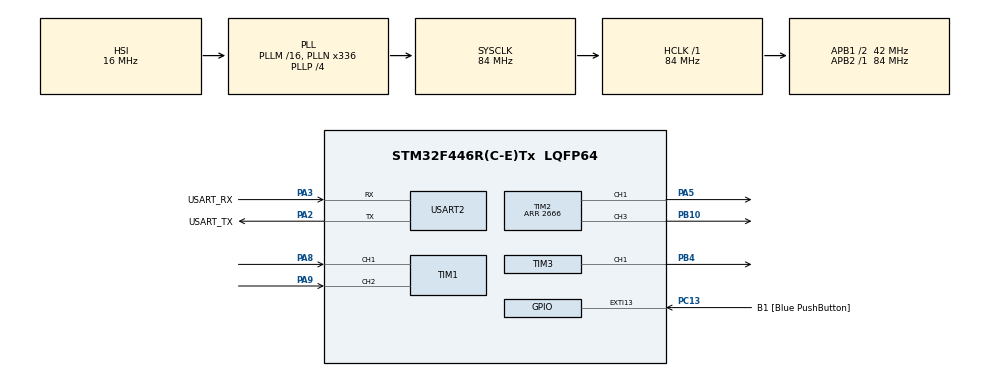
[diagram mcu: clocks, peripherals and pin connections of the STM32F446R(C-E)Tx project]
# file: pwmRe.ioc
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Mcu.Family=STM32F4
Mcu.Name=STM32F446R(C-E)Tx
Mcu.Package=LQFP64
NVIC.PriorityGroup=NVIC_PRIORITYGROUP_0
PA13.GPIO_Label=TMS
PA13.Mode=Serial_Wire
PA13.Signal=SYS_JTMS-SWDIO
PA14.GPIO_Label=TCK
PA14.Mode=Serial_Wire
PA14.Signal=SYS_JTCK-SWCLK
PA2.GPIO_Label=USART_TX
PA2.Mode=Asynchronous
PA2.Signal=USART2_TX
PA3.GPIO_Label=USART_RX
PA3.Mode=Asynchronous
PA3.Signal=USART2_RX
PA5.Signal=S_TIM2_CH1_ETR
PA8.Signal=S_TIM1_CH1
PA9.Signal=S_TIM1_CH2
PB10.Signal=S_TIM2_CH3
PB3.GPIO_Label=SWO
PB3.Signal=SYS_JTDO-SWO
PB4.Signal=S_TIM3_CH1
PC13.GPIO_Label=B1 [Blue PushButton]
PC13.GPIO_ModeDefaultEXTI=GPIO_MODE_IT_FALLING
PC13.Signal=GPXTI13
PC14-OSC32_IN.Mode=LSE-External-Oscillator
PC14-OSC32_IN.Signal=RCC_OSC32_IN
PC15-OSC32_OUT.Mode=LSE-External-Oscillator
PC15-OSC32_OUT.Signal=RCC_OSC32_OUT
PH0-OSC_IN.Mode=HSE-External-Oscillator
PH0-OSC_IN.Signal=RCC_OSC_IN
PH1-OSC_OUT.Mode=HSE-External-Oscillator
PH1-OSC_OUT.Signal=RCC_OSC_OUT
ProjectManager.HeapSize=0x200
ProjectManager.StackSize=0x400
ProjectManager.TargetToolchain=Makefile
RCC.48MHZClocksFreq_Value=84000000
RCC.AHBFreq_Value=84000000
RCC.APB1CLKDivider=RCC_HCLK_DIV2
RCC.APB1Freq_Value=42000000
RCC.APB1TimFreq_Value=84000000
RCC.APB2Freq_Value=84000000
RCC.APB2TimFreq_Value=84000000
RCC.CortexFreq_Value=84000000
RCC.FLatency-AdvancedSettings=FLASH_LATENCY_2
RCC.HCLKFreq_Value=84000000
RCC.HSE_VALUE=8000000
RCC.HSI_VALUE=16000000
RCC.PLLN=336
RCC.PLLP=RCC_PLLP_DIV4
RCC.SYSCLKFreq_VALUE=84000000
RCC.SYSCLKSource=RCC_SYSCLKSOURCE_PLLCLK
RCC.USBFreq_Value=168000000
RCC.VCOOutputFreq_Value=336000000
SH.S_TIM1_CH1.0=TIM1_CH1,Encoder_Interface
SH.S_TIM1_CH2.0=TIM1_CH2,Encoder_Interface
SH.S_TIM2_CH1_ETR.0=TIM2_CH1,PWM Generation1 CH1
SH.S_TIM2_CH3.0=TIM2_CH3,PWM Generation3 CH3
SH.S_TIM3_CH1.0=TIM3_CH1,PWM Generation1 CH1
TIM2.Channel-PWM\ Generation1\ CH1=TIM_CHANNEL_1
TIM2.Channel-PWM\ Generation3\ CH3=TIM_CHANNEL_3
TIM2.Period=2666
TIM3.Channel-PWM\ Generation1\ CH1=TIM_CHANNEL_1
TIM3.Period=2666
USART2.VirtualMode=VM_ASYNC
VP_TIM2_VS_ClockSourceINT.Mode=Internal
board=NUCLEO-F446RE

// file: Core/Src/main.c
/* USER CODE BEGIN Header */
/**
 ******************************************************************************
 * @file           : main.c
 * @brief          : Main program body
 ******************************************************************************
 * @attention
 *
 * <h2><center>&copy; Copyright (c) 2021 STMicroelectronics.
 * All rights reserved.</center></h2>
 *
 * This software component is licensed by ST under BSD 3-Clause license,
 * the "License"; You may not use this file except in compliance with the
 * License. You may obtain a copy of the License at:
 *                        opensource.org/licenses/BSD-3-Clause
 *
 ******************************************************************************
 */
/* USER CODE END Header */
#include "main.h"

TIM_HandleTypeDef htim1;
TIM_HandleTypeDef htim2;
TIM_HandleTypeDef htim3;

UART_HandleTypeDef huart2;

void SystemClock_Config(void);
static void MX_GPIO_Init(void);
static void MX_USART2_UART_Init(void);
static void MX_TIM2_Init(void);
static void MX_TIM3_Init(void);
static void MX_TIM1_Init(void);

/* USER CODE BEGIN 0 */
int16_t read_encoder_value(void)
{
  int16_t enc_buff = (int16_t)TIM1->CNT;
  TIM1->CNT = 0;
  return (int16_t)enc_buff;
}
/* USER CODE END 0 */

int main(void)
{

  /* MCU Configuration--------------------------------------------------------*/

  /* Reset of all peripherals, Initializes the Flash interface and the Systick. */
  HAL_Init();

  /* Configure the system clock */
  SystemClock_Config();

  /* Initialize all configured peripherals */
  MX_GPIO_Init();
  MX_USART2_UART_Init();
  MX_TIM2_Init();
  MX_TIM3_Init();
  MX_TIM1_Init();

  /* Infinite loop */
  /* USER CODE BEGIN WHILE */
  HAL_TIM_PWM_Start(&htim2, TIM_CHANNEL_1);
  HAL_TIM_PWM_Start(&htim2, TIM_CHANNEL_3);
  HAL_TIM_PWM_Start(&htim3, TIM_CHANNEL_1);
  __HAL_TIM_SET_COMPARE(&htim2, TIM_CHANNEL_3, 2666);
  HAL_TIM_Encoder_Start(&htim1, TIM_CHANNEL_ALL);
  int16_t encCntInt = 0;
  int16_t cnt = 0;
  while (1)
  {
    int duty;
    for (duty = 0; duty < 2666; duty++)
    {
      cnt++;
      __HAL_TIM_SET_COMPARE(&htim2, TIM_CHANNEL_1, duty);
      __HAL_TIM_SET_COMPARE(&htim3, TIM_CHANNEL_1, duty);
      encCntInt = read_encoder_value();
      if (cnt % 2 == 0)
      {
        printf("%.1f\n", (float)encCntInt * 200.0f / 120.0f);
        // printf("%f\n", (float)duty / -10.0f);
        cnt = 0;
      }

      HAL_Delay(5);
    }

    /* USER CODE END WHILE */

  }
}

void SystemClock_Config(void)
{
  RCC_OscInitTypeDef RCC_OscInitStruct = {0};
  RCC_ClkInitTypeDef RCC_ClkInitStruct = {0};

  /** Configure the main internal regulator output voltage
   */
  __HAL_RCC_PWR_CLK_ENABLE();
  __HAL_PWR_VOLTAGESCALING_CONFIG(PWR_REGULATOR_VOLTAGE_SCALE3);
  /** Initializes the RCC Oscillators according to the specified parameters
   * in the RCC_OscInitTypeDef structure.
   */
  RCC_OscInitStruct.OscillatorType = RCC_OSCILLATORTYPE_HSI;
  RCC_OscInitStruct.HSIState = RCC_HSI_ON;
  RCC_OscInitStruct.HSICalibrationValue = RCC_HSICALIBRATION_DEFAULT;
  RCC_OscInitStruct.PLL.PLLState = RCC_PLL_ON;
  RCC_OscInitStruct.PLL.PLLSource = RCC_PLLSOURCE_HSI;
  RCC_OscInitStruct.PLL.PLLM = 16;
  RCC_OscInitStruct.PLL.PLLN = 336;
  RCC_OscInitStruct.PLL.PLLP = RCC_PLLP_DIV4;
  RCC_OscInitStruct.PLL.PLLQ = 2;
  RCC_OscInitStruct.PLL.PLLR = 2;
  if (HAL_RCC_OscConfig(&RCC_OscInitStruct) != HAL_OK)
  {
    Error_Handler();
  }
  /** Initializes the CPU, AHB and APB buses clocks
   */
  RCC_ClkInitStruct.ClockType = RCC_CLOCKTYPE_HCLK | RCC_CLOCKTYPE_SYSCLK | RCC_CLOCKTYPE_PCLK1 | RCC_CLOCKTYPE_PCLK2;
  RCC_ClkInitStruct.SYSCLKSource = RCC_SYSCLKSOURCE_PLLCLK;
  RCC_ClkInitStruct.AHBCLKDivider = RCC_SYSCLK_DIV1;
  RCC_ClkInitStruct.APB1CLKDivider = RCC_HCLK_DIV2;
  RCC_ClkInitStruct.APB2CLKDivider = RCC_HCLK_DIV1;

  if (HAL_RCC_ClockConfig(&RCC_ClkInitStruct, FLASH_LATENCY_2) != HAL_OK)
  {
    Error_Handler();
  }
}

static void MX_TIM1_Init(void)
{

  TIM_Encoder_InitTypeDef sConfig = {0};
  TIM_MasterConfigTypeDef sMasterConfig = {0};

  htim1.Instance = TIM1;
  htim1.Init.Prescaler = 0;
  htim1.Init.CounterMode = TIM_COUNTERMODE_UP;
  htim1.Init.Period = 65535;
  htim1.Init.ClockDivision = TIM_CLOCKDIVISION_DIV1;
  htim1.Init.RepetitionCounter = 0;
  htim1.Init.AutoReloadPreload = TIM_AUTORELOAD_PRELOAD_DISABLE;
  sConfig.EncoderMode = TIM_ENCODERMODE_TI1;
  sConfig.IC1Polarity = TIM_ICPOLARITY_RISING;
  sConfig.IC1Selection = TIM_ICSELECTION_DIRECTTI;
  sConfig.IC1Prescaler = TIM_ICPSC_DIV1;
  sConfig.IC1Filter = 0;
  sConfig.IC2Polarity = TIM_ICPOLARITY_RISING;
  sConfig.IC2Selection = TIM_ICSELECTION_DIRECTTI;
  sConfig.IC2Prescaler = TIM_ICPSC_DIV1;
  sConfig.IC2Filter = 0;
  if (HAL_TIM_Encoder_Init(&htim1, &sConfig) != HAL_OK)
  {
    Error_Handler();
  }
  sMasterConfig.MasterOutputTrigger = TIM_TRGO_RESET;
  sMasterConfig.MasterSlaveMode = TIM_MASTERSLAVEMODE_DISABLE;
  if (HAL_TIMEx_MasterConfigSynchronization(&htim1, &sMasterConfig) != HAL_OK)
  {
    Error_Handler();
  }
}

static void MX_TIM2_Init(void)
{

  TIM_ClockConfigTypeDef sClockSourceConfig = {0};
  TIM_MasterConfigTypeDef sMasterConfig = {0};
  TIM_OC_InitTypeDef sConfigOC = {0};

  htim2.Instance = TIM2;
  htim2.Init.Prescaler = 0;
  htim2.Init.CounterMode = TIM_COUNTERMODE_UP;
  htim2.Init.Period = 2666;
  htim2.Init.ClockDivision = TIM_CLOCKDIVISION_DIV1;
  htim2.Init.AutoReloadPreload = TIM_AUTORELOAD_PRELOAD_DISABLE;
  if (HAL_TIM_Base_Init(&htim2) != HAL_OK)
  {
    Error_Handler();
  }
  sClockSourceConfig.ClockSource = TIM_CLOCKSOURCE_INTERNAL;
  if (HAL_TIM_ConfigClockSource(&htim2, &sClockSourceConfig) != HAL_OK)
  {
    Error_Handler();
  }
  if (HAL_TIM_PWM_Init(&htim2) != HAL_OK)
  {
    Error_Handler();
  }
  sMasterConfig.MasterOutputTrigger = TIM_TRGO_RESET;
  sMasterConfig.MasterSlaveMode = TIM_MASTERSLAVEMODE_DISABLE;
  if (HAL_TIMEx_MasterConfigSynchronization(&htim2, &sMasterConfig) != HAL_OK)
  {
    Error_Handler();
  }
  sConfigOC.OCMode = TIM_OCMODE_PWM1;
  sConfigOC.Pulse = 0;
  sConfigOC.OCPolarity = TIM_OCPOLARITY_HIGH;
  sConfigOC.OCFastMode = TIM_OCFAST_DISABLE;
  if (HAL_TIM_PWM_ConfigChannel(&htim2, &sConfigOC, TIM_CHANNEL_1) != HAL_OK)
  {
    Error_Handler();
  }
  if (HAL_TIM_PWM_ConfigChannel(&htim2, &sConfigOC, TIM_CHANNEL_3) != HAL_OK)
  {
    Error_Handler();
  }
  HAL_TIM_MspPostInit(&htim2);
}

static void MX_TIM3_Init(void)
{

  TIM_MasterConfigTypeDef sMasterConfig = {0};
  TIM_OC_InitTypeDef sConfigOC = {0};

  htim3.Instance = TIM3;
  htim3.Init.Prescaler = 0;
  htim3.Init.CounterMode = TIM_COUNTERMODE_UP;
  htim3.Init.Period = 2666;
  htim3.Init.ClockDivision = TIM_CLOCKDIVISION_DIV1;
  htim3.Init.AutoReloadPreload = TIM_AUTORELOAD_PRELOAD_DISABLE;
  if (HAL_TIM_PWM_Init(&htim3) != HAL_OK)
  {
    Error_Handler();
  }
  sMasterConfig.MasterOutputTrigger = TIM_TRGO_RESET;
  sMasterConfig.MasterSlaveMode = TIM_MASTERSLAVEMODE_DISABLE;
  if (HAL_TIMEx_MasterConfigSynchronization(&htim3, &sMasterConfig) != HAL_OK)
  {
    Error_Handler();
  }
  sConfigOC.OCMode = TIM_OCMODE_PWM1;
  sConfigOC.Pulse = 0;
  sConfigOC.OCPolarity = TIM_OCPOLARITY_HIGH;
  sConfigOC.OCFastMode = TIM_OCFAST_DISABLE;
  if (HAL_TIM_PWM_ConfigChannel(&htim3, &sConfigOC, TIM_CHANNEL_1) != HAL_OK)
  {
    Error_Handler();
  }
  HAL_TIM_MspPostInit(&htim3);
}

static void MX_USART2_UART_Init(void)
{

  huart2.Instance = USART2;
  huart2.Init.BaudRate = 115200;
  huart2.Init.WordLength = UART_WORDLENGTH_8B;
  huart2.Init.StopBits = UART_STOPBITS_1;
  huart2.Init.Parity = UART_PARITY_NONE;
  huart2.Init.Mode = UART_MODE_TX_RX;
  huart2.Init.HwFlowCtl = UART_HWCONTROL_NONE;
  huart2.Init.OverSampling = UART_OVERSAMPLING_16;
  if (HAL_UART_Init(&huart2) != HAL_OK)
  {
    Error_Handler();
  }
}

static void MX_GPIO_Init(void)
{
  GPIO_InitTypeDef GPIO_InitStruct = {0};

  /* GPIO Ports Clock Enable */
  __HAL_RCC_GPIOC_CLK_ENABLE();
  __HAL_RCC_GPIOH_CLK_ENABLE();
  __HAL_RCC_GPIOA_CLK_ENABLE();
  __HAL_RCC_GPIOB_CLK_ENABLE();

  /*Configure GPIO pin : B1_Pin */
  GPIO_InitStruct.Pin = B1_Pin;
  GPIO_InitStruct.Mode = GPIO_MODE_IT_FALLING;
  GPIO_InitStruct.Pull = GPIO_NOPULL;
  HAL_GPIO_Init(B1_GPIO_Port, &GPIO_InitStruct);
}

/* USER CODE BEGIN 4 */
int _write(int file, char *ptr, int len)
{
  HAL_UART_Transmit(&huart2, (uint8_t *)ptr, len, 10);
  return len;
}
/* USER CODE END 4 */

void Error_Handler(void)
{
  __disable_irq();
  while (1)
  {
  }
}

/************************ (C) COPYRIGHT STMicroelectronics *****END OF FILE****/
